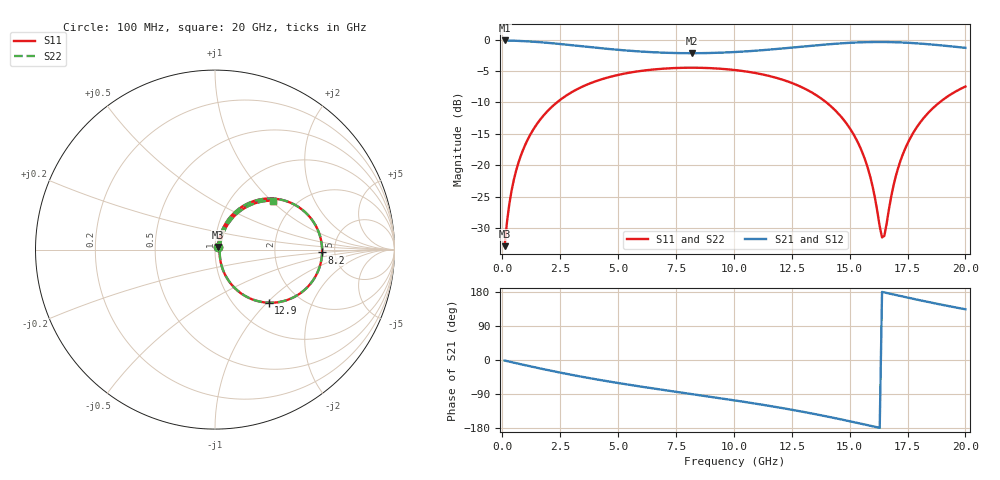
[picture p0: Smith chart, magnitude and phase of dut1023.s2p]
! Touchstone file exported from HFSS 2026.1.0
!  File:  C:/ffzhzh/LocalFiles/Ansys_Project_Files/temp_train_TSV_RDL_1023_1783292951_30076.aedt
!  Generated:  07:18:52 AM Jul  6, 2026
!  Design:  TSV_RDL
!  Project:  temp_train_TSV_RDL_1023_1783292951_30076
! Variables:
!  h_bsmrdl = 4.1um
!  h_ox = 20um
!  h_rdl = 5um
!  h_sub = 55.96um
!  h_tmrdl = 5.44um
!  h_tsv = 55.96um
!  h_via = 3um
!  l_bsmrdl = 834.03um
!  l_sub = 3917.76um
!  l_tmrdl = 224.48um
!  m_sub = 200um
!  pitch = 51.57um
!  r_tsv = 10.85um
!  s_tmrdl = 10um
!  w_bsmrdl = 16.31um
!  w_sub = 500um
!  w_tmrdl = 22.94um
!  x_tsv_center1 = 235.95um
!  x_tsv_center2 = 1086.29um
!  x_tsv_center3 = 1333.71um
!  x_tsv_center4 = 2184.05um
!  x_tsv_center5 = 2431.47um
!  x_tsv_center6 = 3281.81um
# GHz S MA R 50.000000
! Terminal data exported
! Port[1] = TM_RDL1_1_T1
! Port[2] = TM_RDL5_1_T1
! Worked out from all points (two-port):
!   200 points, 100 MHz to 20 GHz, reference 50 ohm
!   highest |S21| = -0.15 dB at 100 MHz (marker M1); lowest = -2.2 dB at 8.2 GHz (marker M2)
!   |S21| within 3 dB of the highest: start of sweep to end of sweep
!   lowest |S11| = -32.8 dB at 100 MHz (marker M3), VSWR 1.05, Z = 51.7 + j1.57 ohm
!   |S11| at or under -10 dB: start of sweep to 2.358 GHz; 14 GHz to 18.88 GHz (4.882 GHz wide, 29.7 % of centre)
!   |S22| runs from -32.8 to -4.5 dB; largest |S21 - S12| = 2.8e-14
!   S11 on the Smith chart (normalised r, x): 100 MHz: 1.03, +0.03; 8.2 GHz: 3.95, -0.19; 12.9 GHz: 1.42, -1.02; 20 GHz: 1.55, +1.03
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0.1  0.0228 41.8  0.9833 -1.4  0.9833 -1.4  0.0228 41.8
! Gamma 0 0 0 0
! Port Impedance 50 0 50 0
0.3  0.04877 64.7  0.9812 -4.3  0.9812 -4.3  0.04877 64.7
0.5  0.07703 69.3  0.9786 -7.0  0.9786 -7.0  0.07703 69.3
1.1  0.1607 67.7  0.9673 -15.2  0.9673 -15.2  0.1607 67.7
2.1  0.2872 57.4  0.9365 -28.3  0.9365 -28.3  0.2872 57.4
3.5  0.4257 42.0  0.8818 -45.0  0.8818 -45.0  0.4257 42.0
5.2  0.5328 24.9  0.8225 -62.7  0.8225 -62.7  0.5328 24.9
6.8  0.584 10.5  0.7882 -77.6  0.7882 -77.6  0.584 10.5
8.2  0.5971 -1.5  0.7786 -90.1  0.7786 -90.1  0.5971 -1.5
10.1  0.5708 -17.9  0.7965 -107.2  0.7965 -107.2  0.5708 -17.9
12.9  0.4208 -44.7  0.8765 -135.7  0.8765 -135.7  0.4208 -44.7
13.4  0.3766 -49.9  0.894 -141.5  0.894 -141.5  0.3766 -49.9
14.6  0.2476 -62.3  0.9319 -156.3  0.9319 -156.3  0.2477 -62.2
15.4  0.1464 -68.3  0.9492 -166.8  0.9492 -166.8  0.1464 -68.2
15.9  0.08006 -66.1  0.955 -173.6  0.955 -173.6  0.08019 -65.8
16.4  0.02677 -13.9  0.9562 179.6  0.9562 179.6  0.0272 -13.7
16.5  0.02753 14.8  0.9559 178.2  0.9559 178.2  0.02796 14.5
16.7  0.04502 48.6  0.9547 175.5  0.9547 175.5  0.0453 48.1
17.1  0.096 63.0  0.9501 170.1  0.9501 170.1  0.09614 62.8
17.8  0.188 61.8  0.9356 160.8  0.9356 160.8  0.1881 61.6
18.7  0.2965 53.5  0.9077 149.2  0.9077 149.2  0.2965 53.4
20  0.4232 40.1  0.8588 133.9  0.8588 133.9  0.4233 40.0
